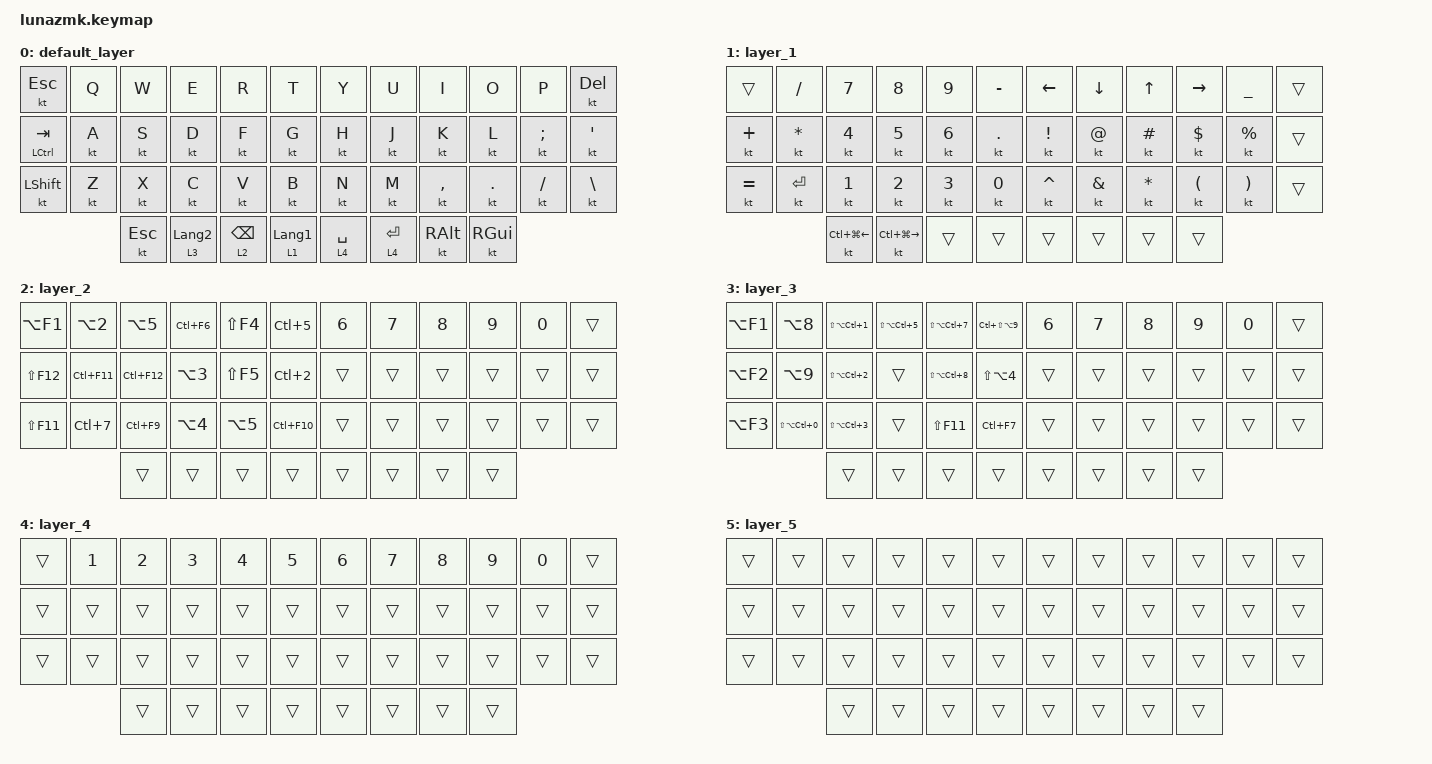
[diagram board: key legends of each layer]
/*
 * Copyright (c) 2020 The ZMK Contributors
 *
 * SPDX-License-Identifier: MIT
 */

#include <behaviors.dtsi>
#include <dt-bindings/zmk/keys.h>

// defines readable layer index

#define DEFAULT 0
#define layer_1   1
#define layer_2   2
#define layer_3   3
#define layer_4   4
#define layer_5   5
#define layer_6   6

/ {
    chosen {
        zmk,kscan = &kscan0;
        zmk,matrix_transform = &default_transform;
    };

    keymap {
        compatible = "zmk,keymap";

        default_layer {
            // DEFAULT LAYER
            // .--------------------------------------------------------------.       .-----------------------------------------------------------.
            // |   ESC        |    Q    |    W   |   E    |    R    |    T    |       |   Y   |    U    |    I    |    O    |     P    |   BKSP   |
            // |--------------+---------+--------+--------+---------+---------|       |-------+---------+---------+---------+----------+----------|
            // |   CTRL/Tab   |    A    |    S   |   D    |    F    |    G    |       |   H   |    J    |    K    |    L    |     ;    |     '    |
            // |--------------+---------+--------+--------+---------+---------|       |-------+---------+---------+---------+----------+----------|
            // |   SHFT       |    Z    |    X   |   C    |    V    |    B    |       |   N   |    M    |    ,    |    .    |     /    |     NAV  |
            // '---------------------------------+--------+---------+---------+       |-------+---------+---------+-------------------------------'
            //                                   |  GUI   |   RSE   |   SPC   |       |  ENT  |   LWR   |  LALT   |
            //                                   '--------+---------+---------'       '-------+---------+---------'

            bindings = <
&kt ESC        &kp Q  &kp W       &kp E             &kp R            &kp T               &kp Y        &kp U        &kp I          &kp O       &kp P          &kt DEL
&mt LCTRL TAB  &kt A  &kt S       &kt D             &kt F            &kt G               &kt H        &kt J        &kt K          &kt L       &kt SEMICOLON  &kt APOS
&kt LSHFT      &kt Z  &kt X       &kt C             &kt V            &kt B               &kt N        &kt M        &kt COMMA      &kt PERIOD  &kt SLASH      &kt BACKSLASH
                      &kt ESCAPE  &lt 3 LANGUAGE_2  &lt 2 BACKSPACE  &lt 1 LANGUAGE_1    &lt 4 SPACE  &lt 4 ENTER  &kt RIGHT_ALT  &kt RGUI
            >;
        };

        layer_1 {
            // LOWER Layer: Media and Number Pad
            // .--------------------------------------------------------------.    .-----------------------------------------------------------.
            // |              |    F5   |   F8   |   F9   |   F10   |         |    |  / ?  |   7 &   |   8 *   |   9 (   |   - _    |   BKSP   |
            // |--------------+---------+--------+--------+---------+---------|    |-------+---------+---------+---------+----------+----------|
            // |              |    F4   |   F5   |   F6   |   F11   |         |    |   *   |   4 $   |   5 %   |   6 ^   |   , <    |          |
            // |--------------+---------+--------+--------+---------+---------|    |-------+---------+---------+---------+----------+----------|
            // |              |    F1   |   F2   |   F3   |   F12   |         |    |  0 )  |   1 !   |   2 @   |   3 #   |   = +    |          |
            // '---------------------------------+--------+---------+---------+    |-------+---------+---------+-------------------------------'
            //                                   |        |         |         |    |       |         |         |
            //                                   '--------+---------+---------'    '-------+---------+---------'

            bindings = <
&trans     &kp SLASH     &kp NUMBER_7            &kp NUMBER_8             &kp NUMBER_9  &kp MINUS       &kp LEFT_ARROW   &kp DOWN_ARROW  &kp UP_ARROW  &kp RIGHT_ARROW       &kp UNDERSCORE         &trans
&kt PLUS   &kt ASTERISK  &kt NUMBER_4            &kt NUMBER_5             &kt NUMBER_6  &kt PERIOD      &kt EXCLAMATION  &kt AT_SIGN     &kt HASH      &kt DOLLAR            &kt PERCENT            &trans
&kt EQUAL  &kt ENTER     &kt NUMBER_1            &kt NUMBER_2             &kt NUMBER_3  &kt NUMBER_0    &kt CARET        &kt AMPERSAND   &kt ASTERISK  &kt LEFT_PARENTHESIS  &kt RIGHT_PARENTHESIS  &trans
                         &kt LC(LG(LEFT_ARROW))  &kt LC(LG(RIGHT_ARROW))  &trans        &trans          &trans           &trans          &trans        &trans
            >;
        };

        layer_2 {
            // RAISE Layer: Special Chars
            // .--------------------------------------------------------------.    .-----------------------------------------------------------.
            // |              |    !    |    @   |   {    |    }    |    |    |    |   *   |    _    |    €    |         |          |          |
            // |--------------+---------+--------+--------+---------+---------|    |-------+---------+---------+---------+----------+----------|
            // |              |    #    |    $   |   (    |    )    |    `    |    |   +   |    -    |    /    |         |          |          |
            // |--------------+---------+--------+--------+---------+---------|    |-------+---------+---------+---------+----------+----------|
            // |              |    %    |    ^   |   [    |    ]    |    ~    |    |   &   |    =    |    ,    |         |          |          |
            // '---------------------------------+--------+---------+---------+    |-------+---------+---------+-------------------------------'
            //                                   |        |         |         |    |       |         |         |
            //                                   '--------+---------+---------'    '-------+---------+---------'

            bindings = <
&kp LA(F1)   &kp LA(N2)   &kp LA(N5)   &kp LC(F6)  &kp LS(F4)  &kp LC(N5)     &kp N6  &kp N7  &kp N8  &kp N9  &kp N0  &trans
&kp LS(F12)  &kp LC(F11)  &kp LC(F12)  &kp LA(N3)  &kp LS(F5)  &kp LC(N2)     &trans  &trans  &trans  &trans  &trans  &trans
&kp LS(F11)  &kp LC(N7)   &kp LC(F9)   &kp LA(N4)  &kp LA(N5)  &kp LC(F10)    &trans  &trans  &trans  &trans  &trans  &trans
                          &trans       &trans      &trans      &trans         &trans  &trans  &trans  &trans
            >;
        };

        layer_3 {
            // NAVIGATION Layer: Directions
            // .--------------------------------------------------------------.    .-----------------------------------------------------------.
            // |              |         |        |        |         |         |    | PG UP | PG HOME |   UP    |  PG END |          |  PrtScn  |
            // |--------------+---------+--------+--------+---------+---------|    |-------+---------+---------+---------+----------+----------|
            // |     CTRL     |         |        |        |         |         |    | PF DN |  LEFT   |  DOWN   |  RIGHT  |          | CAPS LCK |
            // |--------------+---------+--------+--------+---------+---------|    |-------+---------+---------+---------+----------+----------|
            // |     SHIFT    |         |        |        |         |         |    |       |         |         |         |          |          |
            // '---------------------------------+--------+---------+---------+    |-------+---------+---------+-------------------------------'
            //                                   |  GUI   |         |   ALT   |    |       |         |         |
            //                                   '--------+---------+---------'    '-------+---------+---------'

            bindings = <
&kp LA(F1)  &kp LA(N8)          &kp LS(LA(LC(N1)))  &kp LS(LA(LC(N5)))  &kp LS(LA(LC(N7)))  &kp LC(LS(LA(N9)))    &kp N6  &kp N7  &kp N8  &kp N9  &kp N0  &trans
&kp LA(F2)  &kp LA(N9)          &kp LS(LA(LC(N2)))  &trans              &kp LS(LA(LC(N8)))  &kp LS(LA(N4))        &trans  &trans  &trans  &trans  &trans  &trans
&kp LA(F3)  &kp LS(LA(LC(N0)))  &kp LS(LA(LC(N3)))  &trans              &kp LS(F11)         &kp LC(F7)            &trans  &trans  &trans  &trans  &trans  &trans
                                &trans              &trans              &trans              &trans                &trans  &trans  &trans  &trans
            >;
        };

        layer_4 {
            // ADJUST Layer: Setting and Configurations
            // .------------------------------------------------------------.    .-------------------------------------------------------------.
            // |      0     |  BT 0   |  BT 1  |  BT 2  |  BT 3   |  BT 4   |    |  BT CLR |         |         |         |          |          |
            // |------------+---------+--------+--------+---------+---------|    |---------+---------+---------+---------+----------+----------|
            // | ExtPow ON  |         |        |        |         |         |    |         |         |         |         |          |          |
            // |------------+---------+--------+--------+---------+---------|    |---------+---------+---------+---------+----------+----------|
            // | ExtPow OFF |         |        |        |         |         |    |         |         |         |         |          |          |
            // '-------------------------------+--------+---------+---------+    |---------+---------+---------+-------------------------------'
            //                                 |        |         |         |    |         |         |         |
            //                                 '--------+---------+---------'    '---------+---------+---------'

            bindings = <
&trans  &kp N1  &kp N2  &kp N3  &kp N4  &kp N5    &kp N6  &kp N7  &kp N8  &kp N9  &kp N0  &trans
&trans  &trans  &trans  &trans  &trans  &trans    &trans  &trans  &trans  &trans  &trans  &trans
&trans  &trans  &trans  &trans  &trans  &trans    &trans  &trans  &trans  &trans  &trans  &trans
                &trans  &trans  &trans  &trans    &trans  &trans  &trans  &trans
            >;
        };

        layer_5 {
            bindings = <
&trans  &trans  &trans  &trans  &trans  &trans    &trans  &trans  &trans  &trans  &trans  &trans
&trans  &trans  &trans  &trans  &trans  &trans    &trans  &trans  &trans  &trans  &trans  &trans
&trans  &trans  &trans  &trans  &trans  &trans    &trans  &trans  &trans  &trans  &trans  &trans
                &trans  &trans  &trans  &trans    &trans  &trans  &trans  &trans
            >;
        };
    };
};
